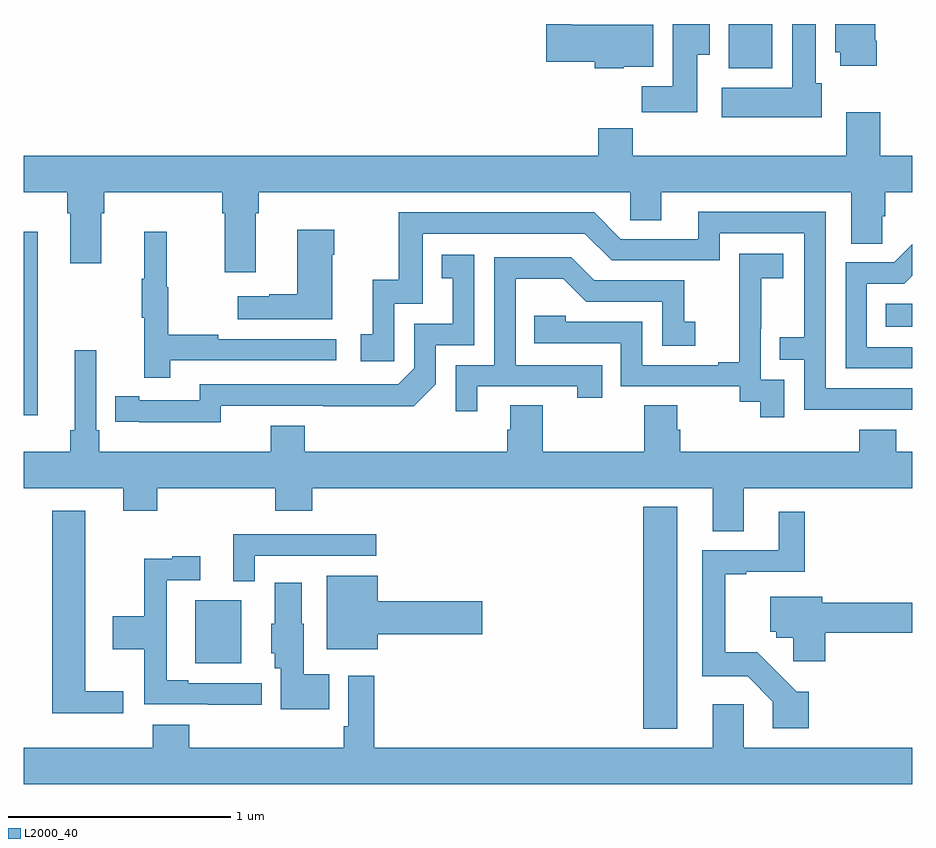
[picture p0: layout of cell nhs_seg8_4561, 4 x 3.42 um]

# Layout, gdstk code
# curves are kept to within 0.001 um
import gdstk
lib = gdstk.Library(unit=1e-6, precision=1e-09)
def R(c, l, rs):  # rectangles x0, y0, x1, y1
    for r in rs: c.add(gdstk.rectangle(r[:2], r[2:], *l))
def P(c, l, *ps):  # polygons
    for p in ps: c.add(gdstk.Polygon(p, *l))
L2000_40 = (2000, 40)

nhs_seg8_4561 = lib.new_cell('nhs_seg8_4561')
R(nhs_seg8_4561, L2000_40, [(389.789,1136.729,389.941,1137.727), (387.773,1137.023,387.979,1137.307), (387,1138.14,387.064,1138.966), (390.88,1138.538,391,1138.642), (390.173,1139.702,390.37,1139.9)])
P(nhs_seg8_4561, L2000_40, [(389.7,1139.708),(389.833,1139.708),(389.833,1139.896),(389.464,1139.896),(389.464,1139.9),(389.352,1139.9),(389.352,1139.731),(389.57,1139.731),(389.57,1139.702),(389.7,1139.702)],
  [(390.031,1139.761),(390.088,1139.761),(390.088,1139.9),(389.921,1139.9),(389.921,1139.62),(389.782,1139.62),(389.782,1139.502),(390.031,1139.502)],
  [(390.84,1139.824),(390.832,1139.824),(390.832,1139.9),(390.653,1139.9),(390.653,1139.772),(390.674,1139.772),(390.674,1139.712),(390.84,1139.712)],
  [(390.592,1139.634),(390.565,1139.634),(390.565,1139.9),(390.458,1139.9),(390.458,1139.614),(390.141,1139.614),(390.141,1139.48),(390.592,1139.48)],
  [(388.045,1139.048),(388.058,1139.048),(388.058,1139.144),(389.73,1139.144),(389.73,1139.017),(389.869,1139.017),(389.869,1139.144),(390.725,1139.144),(390.725,1138.912),(390.864,1138.912),(390.864,1139.035),(390.878,1139.035),(390.878,1139.144),(391,1139.144),(391,1139.308),(390.854,1139.308),(390.854,1139.503),(390.701,1139.503),(390.701,1139.308),(389.741,1139.308),(389.741,1139.432),(389.585,1139.432),(389.585,1139.308),(387,1139.308),(387,1139.144),(387.197,1139.144),(387.197,1139.048),(387.209,1139.048),(387.209,1138.824),(387.349,1138.824),(387.349,1139.048),(387.362,1139.048),(387.362,1139.144),(387.893,1139.144),(387.893,1139.048),(387.905,1139.048),(387.905,1138.782),(388.045,1138.782)],
  [(391,1138.26),(390.609,1138.26),(390.609,1139.055),(390.035,1139.055),(390.035,1138.932),(389.688,1138.932),(389.568,1139.052),(388.689,1139.052),(388.689,1138.75),(388.571,1138.75),(388.571,1138.503),(388.518,1138.503),(388.518,1138.383),(388.668,1138.383),(388.668,1138.641),(388.797,1138.641),(388.797,1138.956),(389.526,1138.956),(389.646,1138.836),(390.132,1138.836),(390.132,1138.959),(390.513,1138.959),(390.513,1138.49),(390.403,1138.49),(390.403,1138.389),(390.513,1138.389),(390.513,1138.164),(391,1138.164)],
  [(388.39,1138.862),(388.398,1138.862),(388.398,1138.975),(388.232,1138.975),(388.232,1138.685),(388.106,1138.685),(388.106,1138.675),(387.963,1138.675),(387.963,1138.571),(388.39,1138.571)],
  [(387.659,1138.386),(388.408,1138.386),(388.408,1138.482),(387.875,1138.482),(387.875,1138.502),(387.652,1138.502),(387.652,1138.716),(387.644,1138.716),(387.644,1138.966),(387.542,1138.966),(387.542,1138.753),(387.531,1138.753),(387.531,1138.579),(387.542,1138.579),(387.542,1138.308),(387.659,1138.308)],
  [(391,1138.446),(390.795,1138.446),(390.795,1138.731),(390.964,1138.731),(391,1138.767),(391,1138.909),(390.918,1138.827),(390.699,1138.827),(390.699,1138.35),(391,1138.35)],
  [(390.423,1138.299),(390.318,1138.299),(390.318,1138.529),(390.32,1138.529),(390.32,1138.757),(390.418,1138.757),(390.418,1138.867),(390.22,1138.867),(390.22,1138.661),(390.221,1138.661),(390.221,1138.378),(390.125,1138.378),(390.125,1138.365),(389.784,1138.365),(389.784,1138.56),(389.439,1138.56),(389.439,1138.587),(389.299,1138.587),(389.299,1138.464),(389.688,1138.464),(389.688,1138.269),(390.222,1138.269),(390.222,1138.201),(390.315,1138.201),(390.315,1138.131),(390.423,1138.131)],
  [(387.888,1138.182),(388.756,1138.181),(388.854,1138.278),(388.854,1138.455),(389.028,1138.455),(389.028,1138.861),(388.882,1138.861),(388.882,1138.755),(388.931,1138.755),(388.931,1138.551),(388.758,1138.551),(388.758,1138.35),(388.686,1138.278),(387.792,1138.278),(387.792,1138.206),(387.52,1138.206),(387.52,1138.226),(387.412,1138.226),(387.412,1138.11),(387.888,1138.109)],
  [(389.041,1138.269),(389.492,1138.269),(389.492,1138.218),(389.603,1138.218),(389.603,1138.365),(389.214,1138.365),(389.214,1138.754),(389.428,1138.754),(389.532,1138.65),(389.874,1138.65),(389.874,1138.452),(390.022,1138.452),(390.022,1138.561),(389.973,1138.561),(389.973,1138.746),(389.569,1138.746),(389.464,1138.851),(389.118,1138.851),(389.118,1138.365),(388.944,1138.365),(388.944,1138.158),(389.041,1138.158)],
  [(390.241,1137.812),(391,1137.812),(391,1137.976),(390.926,1137.976),(390.926,1138.075),(390.761,1138.075),(390.761,1137.976),(389.954,1137.976),(389.954,1138.074),(389.941,1138.074),(389.941,1138.184),(389.794,1138.184),(389.794,1137.976),(389.337,1137.976),(389.337,1138.184),(389.189,1138.184),(389.189,1138.074),(389.177,1138.074),(389.177,1137.976),(388.265,1137.976),(388.265,1138.093),(388.112,1138.093),(388.112,1137.976),(387.341,1137.976),(387.341,1138.072),(387.327,1138.072),(387.327,1138.432),(387.23,1138.432),(387.23,1138.072),(387.211,1138.072),(387.211,1137.976),(387,1137.976),(387,1137.812),(387.449,1137.812),(387.449,1137.71),(387.602,1137.71),(387.602,1137.812),(388.133,1137.812),(388.133,1137.71),(388.298,1137.71),(388.298,1137.812),(390.101,1137.812),(390.101,1137.618),(390.241,1137.618)],
  [(387.448,1136.897),(387.277,1136.897),(387.277,1137.709),(387.128,1137.709),(387.128,1136.798),(387.448,1136.798)],
  [(390.533,1136.896),(390.479,1136.896),(390.301,1137.074),(390.157,1137.074),(390.157,1137.423),(390.253,1137.423),(390.253,1137.435),(390.515,1137.435),(390.515,1137.706),(390.398,1137.706),(390.398,1137.531),(390.053,1137.531),(390.053,1136.964),(390.258,1136.964),(390.372,1136.85),(390.372,1136.73),(390.533,1136.73)],
  [(388.041,1137.507),(388.588,1137.507),(388.588,1137.603),(387.944,1137.603),(387.944,1137.392),(388.041,1137.392)],
  [(388.072,1136.934),(387.742,1136.934),(387.742,1136.947),(387.645,1136.947),(387.645,1137.396),(387.796,1137.396),(387.796,1137.505),(387.668,1137.505),(387.668,1137.494),(387.544,1137.494),(387.544,1137.234),(387.402,1137.234),(387.402,1137.086),(387.544,1137.086),(387.544,1136.838),(387.829,1136.838),(387.829,1136.837),(388.072,1136.837)],
  [(388.594,1137.155),(389.065,1137.155),(389.065,1137.302),(388.594,1137.302),(388.594,1137.418),(388.364,1137.418),(388.364,1137.086),(388.594,1137.086)],
  [(388.376,1136.974),(388.261,1136.974),(388.261,1137.201),(388.252,1137.201),(388.252,1137.385),(388.13,1137.385),(388.13,1137.201),(388.115,1137.201),(388.115,1137.069),(388.13,1137.069),(388.13,1137),(388.157,1137),(388.157,1136.816),(388.376,1136.816)],
  [(390.608,1137.16),(391,1137.16),(391,1137.296),(390.595,1137.296),(390.595,1137.322),(390.359,1137.322),(390.359,1137.165),(390.387,1137.165),(390.387,1137.138),(390.463,1137.138),(390.463,1137.033),(390.608,1137.033)],
  [(391,1136.644),(390.24,1136.644),(390.24,1136.839),(390.101,1136.839),(390.101,1136.644),(388.577,1136.644),(388.577,1136.968),(388.461,1136.968),(388.461,1136.74),(388.441,1136.74),(388.441,1136.644),(387.746,1136.644),(387.746,1136.746),(387.581,1136.746),(387.581,1136.644),(387,1136.644),(387,1136.48),(391,1136.48)])

lib.write_gds('nhs_seg8_4561.gds')
